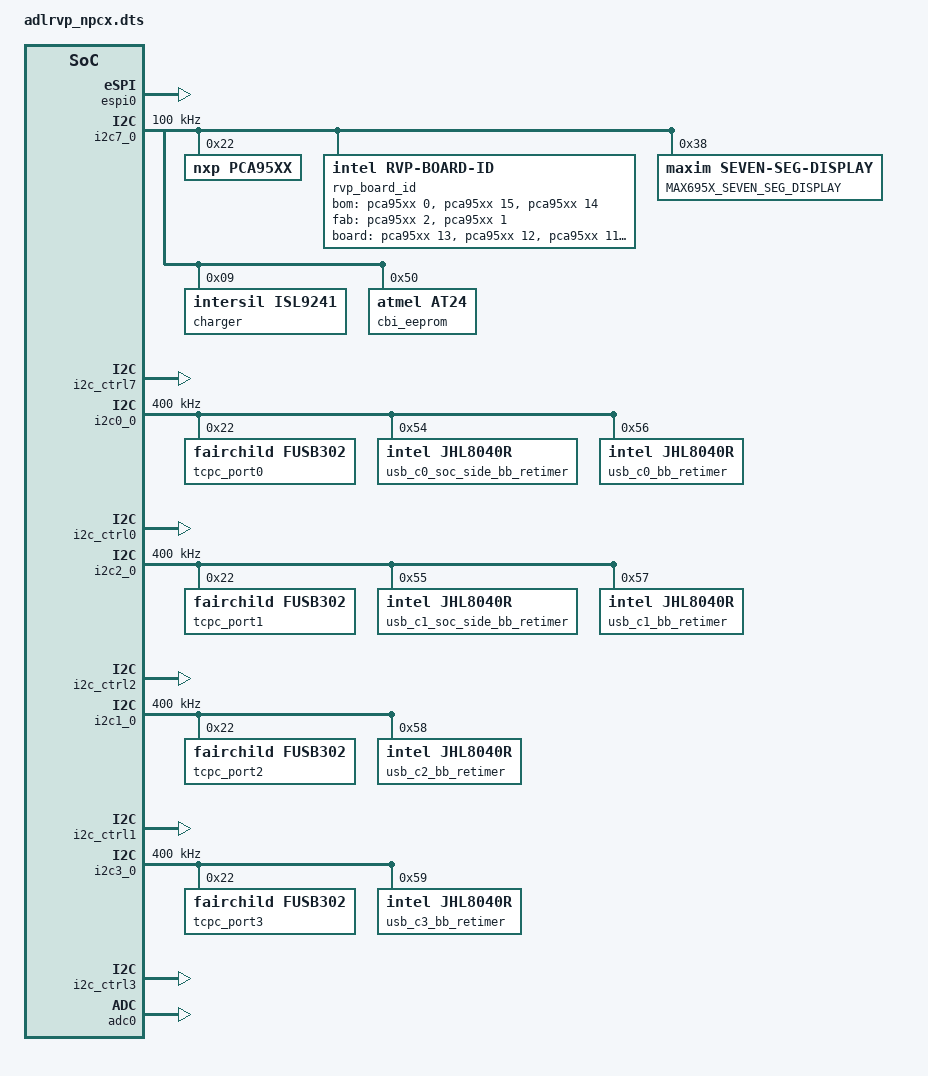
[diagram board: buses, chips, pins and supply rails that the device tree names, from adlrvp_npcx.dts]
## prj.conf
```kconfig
# Copyright 2022 The ChromiumOS Authors
# Use of this source code is governed by a BSD-style license that can be
# found in the LICENSE file.

CONFIG_BOARD_ADLRVP_NPCX=y
CONFIG_CROS_FLASH_NPCX=y
CONFIG_CROS_SYSTEM_NPCX=y
CONFIG_SYSCON=y

# Charger
CONFIG_PLATFORM_EC_DEDICATED_CHARGE_PORT=y

# FAN
CONFIG_TACH_NPCX=y

# Keyboard
CONFIG_CROS_KB_RAW_NPCX=y

# PWM
CONFIG_PWM=y
CONFIG_PWM_SHELL=n
```

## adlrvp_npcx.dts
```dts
/* Copyright 2022 The ChromiumOS Authors
 * Use of this source code is governed by a BSD-style license that can be
 * found in the LICENSE file.
 */

/ {
	chosen {
		cros,rtc = &mtc;
	};

	hibernate-wake-pins {
		compatible = "cros-ec,hibernate-wake-pins";
		wakeup-irqs = <
			&int_ac_present
			&int_lid_open
			&int_power_button
		>;
	};

	named-i2c-ports {
		compatible = "named-i2c-ports";

		i2c_charger: charger {
			i2c-port = <&i2c7_0>;
			enum-names = "I2C_PORT_BATTERY",
				"I2C_PORT_CHARGER",
				"I2C_PORT_EEPROM",
				"I2C_PORT_PORT80";
		};
		typec_0: typec-0 {
			i2c-port = <&i2c0_0>;
			enum-names = "I2C_PORT_TYPEC_0";
		};
		typec_1: typec-1 {
			i2c-port = <&i2c2_0>;
			enum-names = "I2C_PORT_TYPEC_1";
		};
		typec_2: typec-2 {
			i2c-port = <&i2c1_0>;
			enum-names = "I2C_PORT_TYPEC_2";
		};
		typec_3: typec-3 {
			i2c-port = <&i2c3_0>;
			enum-names = "I2C_PORT_TYPEC_3";
		};
	};

	named-adc-channels {
		compatible = "named-adc-channels";

		adc_ambient: ambient {
			enum-name = "ADC_TEMP_SENSOR_1";
			io-channels = <&adc0 3>;
		};
		adc_ddr: ddr {
			enum-name = "ADC_TEMP_SENSOR_2";
			io-channels = <&adc0 4>;
		};
		adc_skin: skin {
			enum-name = "ADC_TEMP_SENSOR_3";
			io-channels = <&adc0 2>;
		};
		adc_vr: vr {
			enum-name = "ADC_TEMP_SENSOR_4";
			io-channels = <&adc0 1>;
		};
	};

};

/* host interface */
&espi0 {
	status = "okay";
	pinctrl-0 = <&espi_lpc_gp46_47_51_52_53_54_55_57>;
	pinctrl-names = "default";
};

/* charger */
&i2c7_0 {
	status = "okay";
	clock-frequency = <I2C_BITRATE_STANDARD>;
	pinctrl-0 = <&i2c7_0_sda_scl_gpb2_b3>;
	pinctrl-names = "default";

	pca95xx: pca95xx@22 {
		compatible = "nxp,pca95xx";
		label = "PCA95XX";
		reg = <0x22>;
		gpio-controller;
		#gpio-cells = <2>;
		ngpios = <16>;
	};

	rvp_board_id: rvp-board-id {
		compatible = "intel,rvp-board-id";

		/*
		 * BOM ID [2]   : IOEX[0]
		 * BOM ID [1:0] : IOEX[15:14]
		 */
		bom-gpios = <&pca95xx 0 0>, <&pca95xx 15 0>, <&pca95xx 14 0>;

		/*
		 * FAB ID [1:0] : IOEX[2:1]
		 */
		fab-gpios = <&pca95xx 2 0>, <&pca95xx 1 0>;

		/*
		 * BOARD ID[5:0] : IOEX[13:8]
		 */
		board-gpios = <&pca95xx 13 0>, <&pca95xx 12 0>, <&pca95xx 11 0>,
			      <&pca95xx 10 0>, <&pca95xx 9 0>, <&pca95xx 8 0>;
	};

	seven_seg_display: max695x-seven-seg-display@38 {
		compatible = "maxim,seven-seg-display";
		reg = <0x38>;
		label = "MAX695X_SEVEN_SEG_DISPLAY";
	};

	charger: isl9241@9 {
		compatible = "intersil,isl9241";
		status = "okay";
		reg = <0x9>;
	};

	cbi_eeprom: eeprom@50 {
		compatible = "atmel,at24";
		reg = <0x50>;
		size = <2048>;
		pagesize = <16>;
		address-width = <8>;
		timeout = <5>;
	};
};

&i2c_ctrl7 {
	status = "okay";
};

/* typec_0 */
&i2c0_0 {
	status = "okay";
	clock-frequency = <I2C_BITRATE_FAST>;
	pinctrl-0 = <&i2c0_0_sda_scl_gpb4_b5>;
	pinctrl-names = "default";

	tcpc_port0: fusb302@22 {
		compatible = "fairchild,fusb302";
		reg = <0x22>;
		int-pin = <&usbc_tcpc_alrt_p0>;
	};

	usb_c0_soc_side_bb_retimer: jhl8040r-c0-soc-side@54 {
		compatible = "intel,jhl8040r";
		reg = <0x54>;
		reset-pin = <&usb_c0_bb_retimer_rst>;
		ls-en-pin = <&usb_c0_bb_retimer_ls_en>;
	};

	usb_c0_bb_retimer: jhl8040r-c0@56 {
		compatible = "intel,jhl8040r";
		reg = <0x56>;
		reset-pin = <&usb_c0_bb_retimer_rst>;
		ls-en-pin = <&usb_c0_bb_retimer_ls_en>;
	};
};

&i2c_ctrl0 {
	status = "okay";
};

/* typec_1 */
&i2c2_0 {
	status = "okay";
	clock-frequency = <I2C_BITRATE_FAST>;
	pinctrl-0 = <&i2c2_0_sda_scl_gp91_92>;
	pinctrl-names = "default";

	tcpc_port1: fusb302@22 {
		compatible = "fairchild,fusb302";
		reg = <0x22>;
		int-pin = <&usbc_tcpc_alrt_p1>;
	};

	usb_c1_soc_side_bb_retimer: jhl8040r-c1-soc-side@55 {
		compatible = "intel,jhl8040r";
		reg = <0x55>;
		reset-pin = <&usb_c1_bb_retimer_rst>;
		ls-en-pin = <&usb_c1_bb_retimer_ls_en>;
	};

	usb_c1_bb_retimer: jhl8040r-c1@57 {
		compatible = "intel,jhl8040r";
		reg = <0x57>;
		reset-pin = <&usb_c1_bb_retimer_rst>;
		ls-en-pin = <&usb_c1_bb_retimer_ls_en>;
	};
};

&i2c_ctrl2 {
	status = "okay";
};

/* typec_2 */
&i2c1_0 {
	status = "okay";
	clock-frequency = <I2C_BITRATE_FAST>;
	pinctrl-0 = <&i2c1_0_sda_scl_gp87_90>;
	pinctrl-names = "default";

	tcpc_port2: fusb302@22 {
		compatible = "fairchild,fusb302";
		reg = <0x22>;
		int-pin = <&usbc_tcpc_alrt_p2>;
	};

	usb_c2_bb_retimer: jhl8040r-c2@58 {
		compatible = "intel,jhl8040r";
		reg = <0x58>;
		reset-pin = <&usb_c2_bb_retimer_rst>;
		ls-en-pin = <&usb_c2_bb_retimer_ls_en>;
	};
};

&i2c_ctrl1 {
	status = "okay";
};

/* typec_3 */
&i2c3_0 {
	status = "okay";
	clock-frequency = <I2C_BITRATE_FAST>;
	pinctrl-0 = <&i2c3_0_sda_scl_gpd0_d1>;
	pinctrl-names = "default";

	tcpc_port3: fusb302@22 {
		compatible = "fairchild,fusb302";
		reg = <0x22>;
		int-pin = <&usbc_tcpc_alrt_p3>;
	};

	usb_c3_bb_retimer: jhl8040r-c3@59 {
		compatible = "intel,jhl8040r";
		reg = <0x59>;
		reset-pin = <&usb_c3_bb_retimer_rst>;
		ls-en-pin = <&usb_c3_bb_retimer_ls_en>;
	};
};

&i2c_ctrl3 {
	status = "okay";
};

&adc0 {
	status = "okay";
	pinctrl-0 = <&adc0_chan1_gp44
		     &adc0_chan2_gp43
		     &adc0_chan3_gp42
		     &adc0_chan4_gp41>;
	pinctrl-names = "default";
};
```

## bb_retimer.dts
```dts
/* Copyright 2022 The Chromium OS Authors. All rights reserved.
 * Use of this source code is governed by a BSD-style license that can be
 * found in the LICENSE file.
 */

&i2c0_0 {
	status = "okay";
	clock-frequency = <I2C_BITRATE_FAST>;

	usb_c0_bb_retimer: jhl8040r@56 {
		compatible = "intel,jhl8040r";
		port = <&typec_0>;
		reg = <0x56>;
		label = "USB_C0_BB_RETIMER";
		reset-pin = <&usb_c0_bb_retimer_rst>;
	};
};

&i2c2_0 {
	status = "okay";
	clock-frequency = <I2C_BITRATE_FAST>;

	usb_c1_bb_retimer: jhl8040r@57 {
		compatible = "intel,jhl8040r";
		port = <&typec_1>;
		reg = <0x57>;
		label = "USB_C1_BB_RETIMER";
		reset-pin = <&usb_c1_bb_retimer_rst>;
	};
};

&i2c1_0 {
	status = "okay";
	clock-frequency = <I2C_BITRATE_FAST>;

	usb_c2_bb_retimer: jhl8040r@58 {
		compatible = "intel,jhl8040r";
		port = <&typec_2>;
		reg = <0x58>;
		label = "USB_C2_BB_RETIMER";
		reset-pin = <&usb_c2_bb_retimer_rst>;
	};
};

&i2c3_0 {
	status = "okay";
	clock-frequency = <I2C_BITRATE_FAST>;

	usb_c3_bb_retimer: jhl8040r@59 {
		compatible = "intel,jhl8040r";
		port = <&typec_3>;
		reg = <0x59>;
		label = "USB_C3_BB_RETIMER";
		reset-pin = <&usb_c3_bb_retimer_rst>;
	};
};
```

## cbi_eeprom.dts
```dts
/* Copyright 2022 The ChromiumOS Authors. All rights reserved.
 * Use of this source code is governed by a BSD-style license that can be
 * found in the LICENSE file.
 */

&i2c7_0 {
	cbi_eeprom: eeprom@50 {
		compatible = "atmel,at24";
		reg = <0x50>;
		label = "EEPROM_CBI";
		size = <2048>;
		pagesize = <16>;
		address-width = <8>;
		timeout = <5>;
	};
};
```

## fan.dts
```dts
/* Copyright 2022 The ChromiumOS Authors. All rights reserved.
 * Use of this source code is governed by a BSD-style license that can be
 * found in the LICENSE file.
 */

/ {
	fans {
		compatible = "cros-ec,fans";

		fan_0 {
			pwms = <&pwm3 0 PWM_KHZ(30) PWM_POLARITY_NORMAL>;
			rpm_min = <3000>;
			rpm_start = <3000>;
			rpm_max = <10000>;
			tach = <&tach2>;
			pgood_gpio = <&all_sys_pwrgd>;
			enable_gpio = <&gpio_fan_control>;
		};
	};
};

/* Tachemeter for fan speed measurement */
&tach2 {
	status = "okay";
	pinctrl-0 = <&ta2_2_in_gpa6>;
	pinctrl-names = "default";
	port = <NPCX_TACH_PORT_A>; /* port-A is selected */
	sample-clk = <NPCX_TACH_FREQ_LFCLK>; /* Use LFCLK as sampling clock */
	pulses-per-round = <2>; /* number of pulses per round of encoder */
};

&pwm3 {
	status = "okay";
	pinctrl-0 = <&pwm3_gp80>;
	pinctrl-names = "default";
};
```

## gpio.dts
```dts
/* Copyright 2022 The ChromiumOS Authors. All rights reserved.
 * Use of this source code is governed by a BSD-style license that can be
 * found in the LICENSE file.
 */

/ {
	aliases {
		gpio-wp = &gpio_wp;
		gpio-kbd-kso2 = &gpio_ec_kso_02_inv;
	};

	named-gpios {
		compatible = "named-gpios";

		all_sys_pwrgd: all-sys-pwrgd {
			gpios = <&gpio7 0 GPIO_INPUT>;
			enum-name = "GPIO_PG_EC_ALL_SYS_PWRGD";
		};
		rsmrst_pwrgd: rsmrst-pwrgd {
			gpios = <&gpio3 7 GPIO_INPUT>;
			enum-name = "GPIO_PG_EC_RSMRST_ODL";
		};
		pch_slp_s0_n: pch-slp-s0-n {
			gpios = <&gpioa 1 GPIO_INPUT>;
			enum-name = "GPIO_PCH_SLP_S0_L";
		};
		vccpdsw_3p3: vccpdsw-3p3 {
			gpios = <&gpio4 5 GPIO_INPUT>;
			enum-name = "GPIO_PG_EC_DSW_PWROK";
		};
		pm_slp_sus_ec_n: pm-slp-sus-ec-n {
			gpios = <&gpio8 6 GPIO_INPUT>;
			enum-name = "GPIO_SLP_SUS_L";
		};
		pm-slp-s3-n {
			gpios = <&gpiob 0 GPIO_INPUT>;
			enum-name = "GPIO_PCH_SLP_S3_L";
		};
		pm-slp-s4-n {
			gpios = <&gpioa 5 GPIO_INPUT>;
		};
		volume-up {
			gpios = <&gpio6 1 GPIO_INPUT_PULL_UP>;
			enum-name = "GPIO_VOLUME_UP_L";
		};
		vol-dn-ec {
			gpios = <&gpio0 3 GPIO_INPUT_PULL_UP>;
			enum-name = "GPIO_VOLUME_DOWN_L";
		};
		smc_lid: smc-lid {
			gpios = <&gpio0 1 GPIO_INPUT_PULL_UP>;
			enum-name = "GPIO_LID_OPEN";
		};
		mech_pwr_btn_odl: mech-pwr-btn-odl {
			gpios = <&gpio0 0 GPIO_INPUT>;
			enum-name = "GPIO_POWER_BUTTON_L";
		};
		std_adp_prsnt: std-adp-prsnt {
			gpios = <&gpio0 2 GPIO_INPUT>;
			enum-name= "GPIO_DC_JACK_PRESENT";
		};
		bc_acok: bc-acok {
			gpios = <&gpioc 6 GPIO_INPUT>;
			enum-name = "GPIO_AC_PRESENT";
		};
		usbc_tcpc_alrt_p0: usbc-tcpc-alrt-p0 {
			gpios = <&gpio4 0 GPIO_INPUT>;
		};
		usbc_tcpc_alrt_p1: usbc-tcpc-alrt-p1 {
			gpios = <&gpio6 2 GPIO_INPUT>;
		};
		usbc_tcpc_alrt_p2: usbc-tcpc-alrt-p2 {
			gpios = <&gpio6 3 GPIO_INPUT>;
		};
		usbc_tcpc_alrt_p3: usbc-tcpc-alrt-p3 {
			gpios = <&gpio6 7 GPIO_INPUT>;
		};
		usbc_tcpc_ppc_alrt_p0: usbc-tcpc-ppc-alrt-p0 {
			gpios = <&gpiof 0 GPIO_INPUT>;
		};
		usbc_tcpc_ppc_alrt_p1: usbc-tcpc-ppc-alrt-p1 {
			gpios = <&gpiof 1 GPIO_INPUT>;
		};
		usbc_tcpc_ppc_alrt_p2: usbc-tcpc-ppc-alrt-p2 {
			gpios = <&gpiof 2 GPIO_INPUT>;
		};
		usbc_tcpc_ppc_alrt_p3: usbc-tcpc-ppc-alrt-p3 {
			gpios = <&gpiof 3 GPIO_INPUT>;
		};
		gpio_ec_pch_wake_odl: smc-wake-sci-n-mecc {
			gpios = <&gpioa 4 GPIO_ODR_HIGH>;
		};
		ec-pch-mkbp-int-odl {
			gpios = <&gpiof 5 GPIO_ODR_HIGH>;
		};
		lpc-espi-rst-n {
			gpios = <&gpio5 4 GPIO_INPUT>;
		};
		plt-rst-l {
			gpios = <&gpioa 2 GPIO_INPUT>;
		};
		slate-mode-indication {
			gpios = <&gpioe 5 GPIO_INPUT>;
		};
		prochot-ec-n {
			gpios = <&gpioa 7 GPIO_INPUT>;
			enum-name = "GPIO_CPU_PROCHOT";
		};
		sys-rst-odl {
			gpios = <&gpioc 5 GPIO_ODR_HIGH>;
			enum-name = "GPIO_SYS_RESET_L";
		};
		pm-rsmrst-n {
			gpios = <&gpiod 3 GPIO_OUTPUT_LOW>;
			enum-name = "GPIO_PCH_RSMRST_L";
		};
		pm-pwrbtn-n {
			gpios = <&gpio9 7 GPIO_ODR_HIGH>;
			enum-name = "GPIO_PCH_PWRBTN_L";
		};
		ec_spi_oe_mecc: ec-spi-oe-mecc {
			gpios = <&gpio6 0 GPIO_OUTPUT_LOW>;
		};
		ec-ds3 {
			gpios = <&gpioc 4 GPIO_OUTPUT_LOW>;
			enum-name = "GPIO_EN_PP3300_A";
			alias = "GPIO_TEMP_SENSOR_POWER";
		};
		pch-pwrok-ec {
			gpios = <&gpioa 0 GPIO_INPUT>;
			enum-name = "GPIO_PCH_PWROK";
		};
		sys-pwrok {
			gpios = <&gpio9 3 GPIO_OUTPUT_LOW>;
			enum-name = "GPIO_PCH_SYS_PWROK";
		};
		ec-dsw-pwrok {
			gpios = <&gpio9 5 GPIO_OUTPUT_LOW>;
			enum-name = "GPIO_PCH_DSW_PWROK";
		};
		gpio_wp: ec-flash-wp-odl {
			gpios = <&gpio9 4 (GPIO_INPUT | GPIO_ACTIVE_LOW)>;
		};
		ec-h1-packet-mode {
			gpios = <&gpioe 2 GPIO_OUTPUT_LOW>;
			enum-name = "GPIO_PACKET_MODE_EN";
		};
		ec-entering-rw {
			gpios = <&gpiod 4 GPIO_OUTPUT_LOW>;
			enum-name = "GPIO_ENTERING_RW";
		};
		ccd_mode_odl: ccd-mode-odl {
			gpios = <&gpiof 4 GPIO_INPUT>;
			enum-name  = "GPIO_CCD_MODE_ODL";
		};
		bat-det {
			gpios = <&gpio7 6 GPIO_INPUT>;
			enum-name = "GPIO_BATT_PRES_ODL";
		};
		edp-bklt-en-mecc {
			gpios = <&gpioe 1 GPIO_OUTPUT_HIGH>;
		};
		led_red_l: led-1-l {
			gpios = <&gpiob 6 GPIO_OUTPUT_HIGH>;
		};
		led_white_l: led-2-l {
			gpios = <&gpiob 7 GPIO_OUTPUT_HIGH>;
		};
		gpio_fan_control: therm-sen-mecc {
			gpios = <&gpioc 0 GPIO_OUTPUT_LOW>;
		};
		smb-bs-clk {
			gpios = <&gpiob 3 GPIO_INPUT>;
		};
		smb-bs-data {
			gpios = <&gpiob 2 GPIO_INPUT>;
		};
		usbc-tcpc-i2c-clk-p0 {
			gpios = <&gpiob 5 GPIO_INPUT>;
		};
		usbc-tcpc-i2c-data-p0 {
			gpios = <&gpiob 4 GPIO_INPUT>;
		};
		usbc-tcpc-i2c-clk-p2 {
			gpios = <&gpio9 2 GPIO_INPUT>;
		};
		usbc-tcpc-i2c-data-p2 {
			gpios = <&gpio9 1 GPIO_INPUT>;
		};
		usbc-tcpc-i2c-clk-p1 {
			gpios = <&gpio9 0 GPIO_INPUT>;
		};
		usbc-tcpc-i2c-data-p1 {
			gpios = <&gpio8 7 GPIO_INPUT>;
		};
		usbc-tcpc-i2c-clk-p3 {
			gpios = <&gpiod 1 GPIO_INPUT>;
		};
		usbc-tcpc-i2c-data-p3 {
			gpios = <&gpiod 0 GPIO_INPUT>;
		};
		sml1-clk-mecc {
			gpios = <&gpio3 3 GPIO_INPUT>;
		};
		sml1-data-mecc {
			gpios = <&gpio3 6 GPIO_INPUT>;
		};
		smb-pch-clk {
			gpios = <&gpioc 2 GPIO_INPUT>;
		};
		smb-pch-data {
			gpios = <&gpioc 1 GPIO_INPUT>;
		};
		i3c-0-scl {
			gpios = <&gpioe 4 GPIO_INPUT>;
		};
		i3c-0-sda {
			gpios = <&gpioe 3 GPIO_INPUT>;
		};
		cpu-cat-err-mecc {
			gpios = <&gpio3 4 GPIO_INPUT>;
		};
		tp29 {
			gpios = <&gpio5 0 GPIO_INPUT>;
		};
		tp28 {
			gpios = <&gpio5 6 GPIO_INPUT>;
		};
		espi-alert0-n {
			gpios = <&gpio5 7 GPIO_INPUT>;
		};
		batt-disable-ec {
			gpios = <&gpio6 6 GPIO_INPUT>;
		};
		tp33 {
			gpios = <&gpio7 2 GPIO_INPUT>;
		};
		tp26 {
			gpios = <&gpio7 3 GPIO_INPUT>;
		};
		slp-s0-cs-n {
			gpios = <&gpio7 4 GPIO_INPUT>;
		};
		ec-peci {
			gpios = <&gpio8 1 GPIO_INPUT>;
		};
		cpu-c10-gate-mecc {
			gpios = <&gpio9 6 GPIO_INPUT>;
		};
		smb-pch-alrt {
			gpios = <&gpioa 3 GPIO_INPUT>;
		};
		smc-sdown-mecc {
			gpios = <&gpiob 1 GPIO_INPUT>;
		};
		std-adpt-cntrl-gpio {
			gpios = <&gpioc 3 GPIO_INPUT>;
		};
		sml1-alert {
			gpios = <&gpioc 7 GPIO_INPUT>;
		};
		smc-onoff-n {
			gpios = <&gpiod 2 GPIO_INPUT>;
		};
		suswarn {
			gpios = <&gpiod 5 GPIO_INPUT>;
		};
		tp-gpiod6-ec {
			gpios = <&gpiod 6 GPIO_INPUT>;
		};
		tp-gpiod7-ec {
			gpios = <&gpiod 7 GPIO_INPUT>;
		};
		me-g3-to-m3-ec {
			gpios = <&gpioe 0 GPIO_INPUT>;
		};
		gpio_ec_kso_02_inv: ec-kso-02-inv {
			gpios = <&gpio1 7 (GPIO_OUTPUT_LOW | GPIO_ACTIVE_LOW)>;
		};

		usb_c0_bb_retimer_rst: usb-c0-bb-retimer-rst {
			gpios = <&ioex_c0_port 0 GPIO_OUTPUT_LOW>;
			enum-name = "IOEX_USB_C0_BB_RETIMER_RST";
		};
		usb_c0_bb_retimer_ls_en: usb-c0-bb-retimer-ls-en {
			gpios = <&ioex_c0_port 1 GPIO_OUTPUT_LOW>;
			enum-name = "IOEX_USB_C0_BB_RETIMER_LS_EN";
		};
		usb-c0-usb-mux-cntrl-1 {
			gpios = <&ioex_c0_port 4 GPIO_OUTPUT_LOW>;
			enum-name = "IOEX_USB_C0_USB_MUX_CNTRL_1";
		};
		usb-c0-usb-mux-cntrl-0 {
			gpios = <&ioex_c0_port 5 GPIO_OUTPUT_LOW>;
			enum-name = "IOEX_USB_C0_USB_MUX_CNTRL_0";
		};
		usb_c1_bb_retimer_rst: usb-c1-bb-retimer-rst {
			gpios = <&ioex_c1_port 0 GPIO_OUTPUT_LOW>;
			enum-name = "IOEX_USB_C1_BB_RETIMER_RST";
		};
		usb_c1_bb_retimer_ls_en: usb-c1-bb-retimer-ls-en {
			gpios = <&ioex_c1_port 1 GPIO_OUTPUT_LOW>;
			enum-name = "IOEX_USB_C1_BB_RETIMER_LS_EN";
		};
		usb-c1-hpd {
			gpios = <&ioex_c1_port 2 GPIO_OUTPUT_LOW>;
			enum-name = "IOEX_USB_C1_HPD";
		};
		usb-c0-c1-oc {
			gpios = <&ioex_c1_port 8 GPIO_OUTPUT_HIGH>;
			enum-name = "IOEX_USB_C0_C1_OC";
		};
		usb_c2_bb_retimer_rst: usb-c2-bb-retimer-rst {
			gpios = <&ioex_c2_port 0 GPIO_OUTPUT_LOW>;
			enum-name = "IOEX_USB_C2_BB_RETIMER_RST";
		};
		usb_c2_bb_retimer_ls_en: usb-c2-bb-retimer-ls-en {
			gpios = <&ioex_c2_port 1 GPIO_OUTPUT_LOW>;
			enum-name = "IOEX_USB_C2_BB_RETIMER_LS_EN";
		};
		usb-c2-usb-mux-cntrl-1 {
			gpios = <&ioex_c2_port 4 GPIO_OUTPUT_LOW>;
		};
		usb-c2-usb-mux-cntrl-0 {
			gpios = <&ioex_c2_port 5 GPIO_OUTPUT_LOW>;
		};
		usb_c3_bb_retimer_rst: usb-c3-bb-retimer-rst {
			gpios = <&ioex_c3_port 0 GPIO_OUTPUT_LOW>;
			enum-name = "IOEX_USB_C3_BB_RETIMER_RST";
		};
		usb_c3_bb_retimer_ls_en: usb-c3-bb-retimer-ls-en {
			gpios = <&ioex_c3_port 1 GPIO_OUTPUT_LOW>;
			enum-name = "IOEX_USB_C3_BB_RETIMER_LS_EN";
		};
		usb-c2-c3-oc {
			gpios = <&ioex_c3_port 8 GPIO_OUTPUT_HIGH>;
			enum-name = "IOEX_USB_C2_C3_OC";
		};
		/* unimplemented GPIOs */
		en-pp5000 {
			enum-name = "GPIO_EN_PP5000";
		};
	};
};
```

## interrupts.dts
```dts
/* Copyright 2022 The ChromiumOS Authors. All rights reserved.
 * Use of this source code is governed by a BSD-style license that can be
 * found in the LICENSE file.
 */
/ {
	gpio-interrupts {
		compatible = "cros-ec,gpio-interrupts";

		int_lid_open: lid-open {
			irq-pin = <&smc_lid>;
			flags = <GPIO_INT_EDGE_BOTH>;
			handler = "lid_interrupt";
		};
		int_power_button: power-button {
			irq-pin = <&mech_pwr_btn_odl>;
			flags = <GPIO_INT_EDGE_BOTH>;
			handler = "power_button_interrupt";
		};
		int_ac_present: ac-present {
			irq-pin = <&bc_acok>;
			flags = <GPIO_INT_EDGE_BOTH>;
			handler = "extpower_interrupt";
		};
		int_slp_s0: slp-s0 {
			irq-pin = <&pch_slp_s0_n>;
			flags = <GPIO_INT_EDGE_BOTH>;
			handler = "power_signal_interrupt";
		};
		int_slp_sus: slp-sus {
			irq-pin = <&pm_slp_sus_ec_n>;
			flags = <GPIO_INT_EDGE_BOTH>;
			handler = "power_signal_interrupt";
		};
		int_pg_dsw_pwrok: pg-dsw-pwrok {
			irq-pin = <&vccpdsw_3p3>;
			flags = <GPIO_INT_EDGE_BOTH>;
			handler = "power_signal_interrupt";
		};
		int_rsmrst_pwrgd: rsmrst-pwrgd {
			irq-pin = <&rsmrst_pwrgd>;
			flags = <GPIO_INT_EDGE_BOTH>;
			handler = "power_signal_interrupt";
		};
		int_all_sys_pwrgd: all-sys-pwrgd {
			irq-pin = <&all_sys_pwrgd>;
			flags = <GPIO_INT_EDGE_BOTH>;
			handler = "power_signal_interrupt";
		};
		int_usbc_tcpc_alrt_p0: usbc-tcpc-alrt-p0 {
			irq-pin = <&usbc_tcpc_alrt_p0>;
			flags = <GPIO_INT_EDGE_FALLING>;
			handler = "tcpc_alert_event";
		};
		int_usbc_tcpc_alrt_p1: usbc-tcpc-alrt-p1 {
			irq-pin = <&usbc_tcpc_alrt_p1>;
			flags = <GPIO_INT_EDGE_FALLING>;
			handler = "tcpc_alert_event";
		};
		int_usbc_tcpc_alrt_p2: usbc-tcpc-alrt-p2 {
			irq-pin = <&usbc_tcpc_alrt_p2>;
			flags = <GPIO_INT_EDGE_FALLING>;
			handler = "tcpc_alert_event";
		};
		int_usbc_tcpc_alrt_p3: usbc-tcpc-alrt-p3 {
			irq-pin = <&usbc_tcpc_alrt_p3>;
			flags = <GPIO_INT_EDGE_FALLING>;
			handler = "tcpc_alert_event";
		};
		int_usbc_tcpc_ppc_alrt_p0: usbc-tcpc-ppc-alrt-p0 {
			irq-pin = <&usbc_tcpc_ppc_alrt_p0>;
			flags = <GPIO_INT_EDGE_FALLING>;
			handler = "ppc_interrupt";
		};
		int_usbc_tcpc_ppc_alrt_p1: usbc-tcpc-ppc-alrt-p1 {
			irq-pin = <&usbc_tcpc_ppc_alrt_p1>;
			flags = <GPIO_INT_EDGE_FALLING>;
			handler = "ppc_interrupt";
		};
		int_usbc_tcpc_ppc_alrt_p2: usbc-tcpc-ppc-alrt-p2 {
			irq-pin = <&usbc_tcpc_ppc_alrt_p2>;
			flags = <GPIO_INT_EDGE_FALLING>;
			handler = "ppc_interrupt";
		};
		int_usbc_tcpc_ppc_alrt_p3: usbc-tcpc-ppc-alrt-p3 {
			irq-pin = <&usbc_tcpc_ppc_alrt_p3>;
			flags = <GPIO_INT_EDGE_FALLING>;
			handler = "ppc_interrupt";
		};
		int_std_adp_prsnt: std-adp-prsnt {
			irq-pin = <&std_adp_prsnt>;
			flags = <GPIO_INT_EDGE_BOTH>;
			handler = "board_dc_jack_interrupt";
		};
		int_ccd_mode_odl: ccd-mode-odl {
			irq-pin = <&ccd_mode_odl>;
			flags = <GPIO_INT_EDGE_BOTH>;
			handler = "board_connect_c0_sbu";
		};
	};
};
```

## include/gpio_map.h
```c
/* Copyright 2022 The Chromium OS Authors. All rights reserved.
 * Use of this source code is governed by a BSD-style license that can be
 * found in the LICENSE file.
 */

#ifndef __ZEPHYR_GPIO_MAP_H
#define __ZEPHYR_GPIO_MAP_H

#include <devicetree.h>
#include <gpio_signal.h>
#include <intelrvp.h>

#define GPIO_SYS_RESET_L		GPIO_SYS_RST_ODL
#define GPIO_SYS_PWROK_EC		GPIO_EC_PCH_SYS_PWROK

#endif /* __ZEPHYR_GPIO_MAP_H */
```

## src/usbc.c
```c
/* Copyright 2022 The Chromium OS Authors. All rights reserved.
 * Use of this source code is governed by a BSD-style license that can be
 * found in the LICENSE file.
 */

/* Intel ADLRVP-NPCX board-specific configuration */
#include "fusb302.h"
#include "usb_pd_tcpm.h"
#include "adlrvp_zephyr.h"

/* USB-C TCPC Configuration */
const struct tcpc_config_t tcpc_config[] = {
	[TYPE_C_PORT_0] = {
		.bus_type = EC_BUS_TYPE_I2C,
		.i2c_info = {
			.port = I2C_PORT_TYPEC_0,
			.addr_flags = I2C_ADDR_FUSB302_TCPC_AIC,
		},
		.drv = &fusb302_tcpm_drv,
	},
#if defined(HAS_TASK_PD_C1)
	[TYPE_C_PORT_1] = {
		.bus_type = EC_BUS_TYPE_I2C,
		.i2c_info = {
			.port = I2C_PORT_TYPEC_1,
			.addr_flags = I2C_ADDR_FUSB302_TCPC_AIC,
		},
		.drv = &fusb302_tcpm_drv,
	},
#endif
#if defined(HAS_TASK_PD_C2)
	[TYPE_C_PORT_2] = {
		.bus_type = EC_BUS_TYPE_I2C,
		.i2c_info = {
			.port = I2C_PORT_TYPEC_2,
			.addr_flags = I2C_ADDR_FUSB302_TCPC_AIC,
		},
		.drv = &fusb302_tcpm_drv,
	},
#endif
#if defined(HAS_TASK_PD_C3)
	[TYPE_C_PORT_3] = {
		.bus_type = EC_BUS_TYPE_I2C,
		.i2c_info = {
			.port = I2C_PORT_TYPEC_3,
			.addr_flags = I2C_ADDR_FUSB302_TCPC_AIC,
		},
		.drv = &fusb302_tcpm_drv,
	},
#endif
};
BUILD_ASSERT(ARRAY_SIZE(tcpc_config) == CONFIG_USB_PD_PORT_MAX_COUNT);
```
